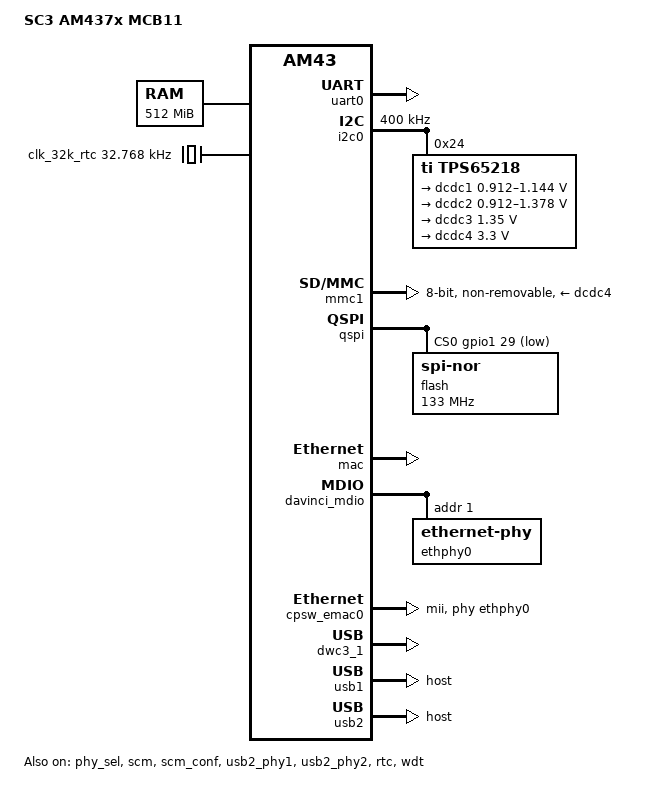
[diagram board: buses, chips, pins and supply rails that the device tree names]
// SPDX-License-Identifier: GPL-2.0-only
/*
 * Copyright (C) 2013 Texas Instruments Incorporated - https://www.ti.com/
 */

/* SC3 AM437x MCB11 */

/dts-v1/;

#include "am4372.dtsi"
#include <dt-bindings/pinctrl/am43xx.h>
#include <dt-bindings/pwm/pwm.h>
#include <dt-bindings/gpio/gpio.h>
#include "am4372-u-boot.dtsi"

/ {
	model = "SC3 AM437x MCB11";
	compatible = "ti,am437x-gp-evm","ti,am4372","ti,am43";

	chosen {
		stdout-path = &uart0;
		tick-timer = &timer2;
	};

	memory {
    	device_type = "memory";
    	reg = <0x80000000 0x20000000>; /* 512MB */
	};

	/* fixed 32k external oscillator clock */
	clk_32k_rtc: clk_32k_rtc {
		#clock-cells = <0>;
		compatible = "fixed-clock";
		clock-frequency = <32768>;
	};
};

&am43xx_pinmux {

	i2c0_pins: i2c0_pins {
		pinctrl-single,pins = <
			AM4372_IOPAD(0x988, PIN_INPUT_PULLUP | SLEWCTRL_FAST | MUX_MODE0)  /* i2c0_sda.i2c0_sda */
			AM4372_IOPAD(0x98c, PIN_INPUT_PULLUP | SLEWCTRL_FAST | MUX_MODE0)  /* i2c0_scl.i2c0_scl */
		>;
	};

	i2c1_pins: i2c1_pins {
		pinctrl-single,pins = <
			AM4372_IOPAD(0x95c, PIN_INPUT_PULLUP | SLEWCTRL_FAST | MUX_MODE2)  /* spi0_cs0.i2c1_scl */
			AM4372_IOPAD(0x958, PIN_INPUT_PULLUP | SLEWCTRL_FAST | MUX_MODE2)  /* spi0_d1.i2c1_sda  */
		>;
	};

	gpio0_pins: gpio0-default-pins {
		pinctrl-single,pins = <
			AM4372_IOPAD(0x954, PIN_INPUT | MUX_MODE7) /* (T22) spi0_d0.gpio0[3] */
			AM4372_IOPAD(0x958, PIN_INPUT | MUX_MODE7) /* (T21) spi0_d1.gpio0[4] */
			AM4372_IOPAD(0x95c, PIN_INPUT | MUX_MODE7) /* (T20) spi0_cs0.gpio0[5] */
			AM4372_IOPAD(0x964, PIN_INPUT | MUX_MODE7) /* (G24) eCAP0_in_PWM0_out.gpio0[7] */
			AM4372_IOPAD(0x978, PIN_INPUT | MUX_MODE7) /* (K22) uart1_ctsn.gpio0[12] */
			AM4372_IOPAD(0x97c, PIN_INPUT | MUX_MODE7) /* (L22) uart1_rtsn.gpio0[13] */
			AM4372_IOPAD(0x980, PIN_INPUT | MUX_MODE7) /* (K21) uart1_rxd.gpio0[14] */
			AM4372_IOPAD(0x984, PIN_INPUT | MUX_MODE7) /* (L21) uart1_txd.gpio0[15] */
			AM4372_IOPAD(0x870, PIN_OUTPUT | MUX_MODE7) /* (A2) gpmc_wait0.gpio0[30] */
		>;
	};

	mdio_2_pins: mdio_2-default-pins {
		pinctrl-single,pins = <
			AM4372_IOPAD(0x94c, PIN_OUTPUT | MUX_MODE0) /* (B17) mdio_clk.mdio_clk */
			AM4372_IOPAD(0x948, PIN_INPUT | MUX_MODE0) /* (A17) mdio_data.mdio_data */
		>;
	};

	mii_1_pins: mii_1-default-pins {
		pinctrl-single,pins = <
			AM4372_IOPAD(0x908, PIN_INPUT | MUX_MODE0) /* (D16) mii1_col.gmii1_col */
			AM4372_IOPAD(0x90c, PIN_INPUT | MUX_MODE0) /* (B14) mii1_crs.gmii1_crs */
			AM4372_IOPAD(0x910, PIN_INPUT | MUX_MODE0) /* (B13) mii1_rx_er.gmii1_rxer */
			AM4372_IOPAD(0x914, PIN_OUTPUT | MUX_MODE0) /* (A13) mii1_tx_en.gmii1_txen */
			AM4372_IOPAD(0x918, PIN_INPUT | MUX_MODE0) /* (A15) mii1_rx_dv.gmii1_rxdv */
			AM4372_IOPAD(0x92c, PIN_INPUT | MUX_MODE0) /* (D14) mii1_tx_clk.gmii1_txclk */
			AM4372_IOPAD(0x930, PIN_INPUT | MUX_MODE0) /* (D13) mii1_rx_clk.gmii1_rxclk */
			AM4372_IOPAD(0x928, PIN_OUTPUT | MUX_MODE0) /* (B15) mii1_txd0.gmii1_txd0 */
			AM4372_IOPAD(0x924, PIN_OUTPUT | MUX_MODE0) /* (A14) mii1_txd1.gmii1_txd1 */
			AM4372_IOPAD(0x920, PIN_OUTPUT | MUX_MODE0) /* (C13) mii1_txd2.gmii1_txd2 */
			AM4372_IOPAD(0x91c, PIN_OUTPUT | MUX_MODE0) /* (C16) mii1_txd3.gmii1_txd3 */
			AM4372_IOPAD(0x940, PIN_INPUT | MUX_MODE0) /* (F17) mii1_rxd0.gmii1_rxd0 */
			AM4372_IOPAD(0x93c, PIN_INPUT | MUX_MODE0) /* (B16) mii1_rxd1.gmii1_rxd1 */
			AM4372_IOPAD(0x938, PIN_INPUT | MUX_MODE0) /* (E16) mii1_rxd2.gmii1_rxd2 */
			AM4372_IOPAD(0x934, PIN_INPUT | MUX_MODE0) /* (C14) mii1_rxd3.gmii1_rxd3 */
		>;
	};

	mii_pruss1_1_pins: mii_pruss1_1-default-pins {
		pinctrl-single,pins = <
			AM4372_IOPAD(0x858, PIN_INPUT | MUX_MODE5) /* (E8) gpmc_a6.pr1_mii_mt1_clk */
			AM4372_IOPAD(0x854, PIN_OUTPUT | MUX_MODE5) /* (E7) gpmc_a5.pr1_mii1_txd0 */
			AM4372_IOPAD(0x850, PIN_OUTPUT | MUX_MODE5) /* (D7) gpmc_a4.pr1_mii1_txd1 */
			AM4372_IOPAD(0x84c, PIN_OUTPUT | MUX_MODE5) /* (A4) gpmc_a3.pr1_mii1_txd2 */
			AM4372_IOPAD(0x848, PIN_OUTPUT | MUX_MODE5) /* (C6) gpmc_a2.pr1_mii1_txd3 */
			AM4372_IOPAD(0x86c, PIN_INPUT | MUX_MODE5) /* (D8) gpmc_a11.pr1_mii1_rxd0 */
			AM4372_IOPAD(0x868, PIN_INPUT | MUX_MODE5) /* (G8) gpmc_a10.pr1_mii1_rxd1 */
			AM4372_IOPAD(0x864, PIN_INPUT | MUX_MODE5) /* (B4) gpmc_a9.pr1_mii1_rxd2 */
			AM4372_IOPAD(0x860, PIN_INPUT | MUX_MODE5) /* (F7) gpmc_a8.pr1_mii1_rxd3 */
			AM4372_IOPAD(0x840, PIN_OUTPUT | MUX_MODE5) /* (C3) gpmc_a0.pr1_mii1_txen */
			AM4372_IOPAD(0x85c, PIN_INPUT | MUX_MODE5) /* (F6) gpmc_a7.pr1_mii_mr1_clk */
			AM4372_IOPAD(0x844, PIN_INPUT | MUX_MODE5) /* (C5) gpmc_a1.pr1_mii1_rxdv */
			AM4372_IOPAD(0x874, PIN_INPUT | MUX_MODE5) /* (B3) gpmc_wpn.pr1_mii1_rxer */
			AM4372_IOPAD(0xa4c, PIN_INPUT | MUX_MODE5) /* (E24) gpio5_13.pr1_mii1_rxlink */
			AM4372_IOPAD(0xa44, PIN_INPUT | MUX_MODE5) /* (F23) gpio5_11.pr1_mii1_crs */
			AM4372_IOPAD(0x878, PIN_INPUT | MUX_MODE5) /* (A3) gpmc_be1n.pr1_mii1_col */
		>;
	};

	mmc1_pins: mymmc1-default-pins {
		pinctrl-single,pins = <
			AM4372_IOPAD(0x880, PIN_OUTPUT | MUX_MODE2) /* (B9) gpmc_csn1.mmc1_clk */
			AM4372_IOPAD(0x884, PIN_INPUT | MUX_MODE2) /* (F10) gpmc_csn2.mmc1_cmd */
			AM4372_IOPAD(0x820, PIN_INPUT | MUX_MODE2) /* (B10) gpmc_ad8.mmc1_dat0 */
			AM4372_IOPAD(0x824, PIN_INPUT | MUX_MODE2) /* (A10) gpmc_ad9.mmc1_dat1 */
			AM4372_IOPAD(0x828, PIN_INPUT | MUX_MODE2) /* (F11) gpmc_ad10.mmc1_dat2 */
			AM4372_IOPAD(0x82c, PIN_INPUT | MUX_MODE2) /* (D11) gpmc_ad11.mmc1_dat3 */
			AM4372_IOPAD(0x830, PIN_INPUT | MUX_MODE2) /* (E11) gpmc_ad12.mmc1_dat4 */
			AM4372_IOPAD(0x834, PIN_INPUT | MUX_MODE2) /* (C11) gpmc_ad13.mmc1_dat5 */
			AM4372_IOPAD(0x838, PIN_INPUT | MUX_MODE2) /* (B11) gpmc_ad14.mmc1_dat6 */
			AM4372_IOPAD(0x83c, PIN_INPUT | MUX_MODE2) /* (A11) gpmc_ad15.mmc1_dat7 */
		>;
	};

	osc_1_pins: osc_1-default-pins {
		pinctrl-single,pins = <
			AM4372_IOPAD(0xaac, PIN_INPUT | MUX_MODE0) /* (AE5) RTC_XTALIN.OSC1_IN */
			AM4372_IOPAD(0xab0, PIN_OUTPUT | MUX_MODE0) /* (AE4) RTC_XTALOUT.OSC1_OUT */
		>;
	};

	osc_2_pins: osc_2-default-pins {
		pinctrl-single,pins = <
			AM4372_IOPAD(0xa88, PIN_INPUT | MUX_MODE0) /* (C25) XTALIN.OSC0_IN */
			AM4372_IOPAD(0xa8c, PIN_OUTPUT | MUX_MODE0) /* (B25) XTALOUT.OSC0_OUT */
		>;
	};

	qspi_1_pins: qspi_1-default-pins {
		pinctrl-single,pins = <
			AM4372_IOPAD(0x888, PIN_OUTPUT | MUX_MODE2) /* (B12) gpmc_csn3.qspi_clk */
			AM4372_IOPAD(0x87c, PIN_OUTPUT | MUX_MODE3) /* (A8) gpmc_csn0.qspi_csn */
			AM4372_IOPAD(0x890, PIN_INPUT_PULLUP | MUX_MODE3) /* (A9) gpmc_advn_ale.qspi_d0 */
			AM4372_IOPAD(0x894, PIN_INPUT_PULLUP | MUX_MODE3) /* (E10) gpmc_oen_ren.qspi_d1 */
			AM4372_IOPAD(0x898, PIN_INPUT_PULLUP | MUX_MODE3) /* (D10) gpmc_wen.qspi_d2 */
			AM4372_IOPAD(0x89c, PIN_INPUT_PULLUP | MUX_MODE3) /* (C10) gpmc_be0n_cle.qspi_d3 */
		>;
	};

	rtc_1_pins: rtc_1-default-pins {
		pinctrl-single,pins = <
			AM4372_IOPAD(0xab4, PIN_INPUT | MUX_MODE0) /* (AE6) RTC_PWRONRSTn.RTC_PORz */
			AM4372_IOPAD(0xab8, PIN_OUTPUT | MUX_MODE0) /* (AE3) RTC_WAKEUP.RTC_WAKEUP */
			AM4372_IOPAD(0xabc, PIN_INPUT | MUX_MODE0) /* (AD6) RTC_PMIC_EN.RTC_PMIC_EN */
		>;
	};

	uart0_pins: uart0-default-pins {
		pinctrl-single,pins = <
			AM4372_IOPAD(0x970, PIN_INPUT | MUX_MODE0) /* (K25) uart0_rxd.uart0_rxd */
			AM4372_IOPAD(0x974, PIN_OUTPUT | MUX_MODE0) /* (J24) uart0_txd.uart0_txd */
		>;
	};
};

&uart0 {
	u-boot,dm-spl;
	status = "okay";
	pinctrl-names = "default";
	pinctrl-0 = <&uart0_pins>;
};

&i2c0 {
	u-boot,dm-spl;
	status = "okay";
	pinctrl-names = "default";
	pinctrl-0 = <&i2c0_pins>;
	clock-frequency = <400000>;

	tps65218: tps65218@24 {
		reg = <0x24>;
		compatible = "ti,tps65218";
		interrupts = <GIC_SPI 7 IRQ_TYPE_NONE>; /* NMIn */
		interrupt-controller;
		#interrupt-cells = <2>;

		dcdc1: regulator-dcdc1 {
			compatible = "ti,tps65218-dcdc1";
			regulator-name = "vdd_core";
			regulator-min-microvolt = <912000>;
			regulator-max-microvolt = <1144000>;
			regulator-boot-on;
			regulator-always-on;
		};

		dcdc2: regulator-dcdc2 {
			compatible = "ti,tps65218-dcdc2";
			regulator-name = "vdd_mpu";
			regulator-min-microvolt = <912000>;
			regulator-max-microvolt = <1378000>;
			regulator-boot-on;
			regulator-always-on;
		};

		dcdc3: regulator-dcdc3 {
			compatible = "ti,tps65218-dcdc3";
			regulator-name = "vdd_ddr";
			regulator-min-microvolt = <1350000>;
			regulator-max-microvolt = <1350000>;
			regulator-boot-on;
			regulator-always-on;
		};
		dcdc4: regulator-dcdc4 {
			compatible = "ti,tps65218-dcdc4";
			regulator-name = "3v3_sitara";
			regulator-min-microvolt = <3300000>;
			regulator-max-microvolt = <3300000>;
			regulator-boot-on;
			regulator-always-on;
		};
	};
};

&mmc1 {
	u-boot,dm-spl;
    status = "okay";
    bus-width = <8>;
    max-frequency = <52000000>;
    vmmc-supply = <&dcdc4>;
	vqmmc-supply = <&dcdc4>;

	non-removable;
	no-1-8-v;

    pinctrl-names = "default";
    pinctrl-0 = <&mmc1_pins>;
};

&qspi {
	status = "okay";
	pinctrl-names = "default";
	pinctrl-0 = <&qspi_1_pins>;
	cs-gpios = <&gpio1 29 GPIO_ACTIVE_LOW>;

	flash@0 {
        compatible = "jedec,spi-nor";
        reg = <0>;
        spi-max-frequency = <133000000>;
        spi-tx-bus-width = <4>;
        spi-rx-bus-width = <4>;
        m25p,fast-read;
        size = <0x800000>;
    };
};

/{
	ocp {
		u-boot,dm-spl;
	};
};

&l4_wkup {
	u-boot,dm-spl;
	status = "okay";
};

&mac {
	u-boot,dm-spl;
	slaves = <1>;
	pinctrl-names = "default";
	pinctrl-0 = <&mdio_2_pins
				 &mii_1_pins
				>;
	status = "okay";
};

&davinci_mdio {
	u-boot,dm-spl;
	status = "okay";

	ethphy0: ethernet-phy@1 {
		reg = <1>;
	};
};

&cpsw_emac0 {
	u-boot,dm-spl;
	phy-handle = <&ethphy0>;
	phy-mode = "mii";
	status = "okay";
};

&phy_sel {
	u-boot,dm-spl;
	status = "okay";
};

&scm {
	u-boot,dm-spl;
	status = "okay";
};

&scm_conf {
	u-boot,dm-spl;
    status = "okay";
};

&ethphy0 {
	u-boot,dm-spl;
	status = "okay";
};

&ocp2scp0 {
	u-boot,dm-spl;
	compatible = "ti,am437x-ocp2scp", "ti,omap-ocp2scp", "simple-bus";
	status = "okay";
};

&ocp2scp1 {
	u-boot,dm-spl;
	compatible = "ti,am437x-ocp2scp", "ti,omap-ocp2scp", "simple-bus";
	status = "okay";
};

&dwc3_1 {
	u-boot,dm-spl;
	status = "okay";
};

&dwc3_1 {
	u-boot,dm-spl;
	status = "okay";
};

&usb2_phy1 {
	u-boot,dm-spl;
	status = "okay";
};

&usb1 {
	u-boot,dm-spl;
	dr_mode = "host";
	status = "okay";
};

&usb2_phy2 {
	u-boot,dm-spl;
	status = "okay";
};

&usb2 {
	u-boot,dm-spl;
	dr_mode = "host";
	status = "okay";
};

&rtc {
	clocks = <&clk_32k_rtc>, <&clk_32768_ck>;
	clock-names = "ext-clk", "int-clk";
	status = "okay";
};

&wdt {
	status = "okay";
};

&cpu {
	cpu0-supply = <&dcdc2>;
};
